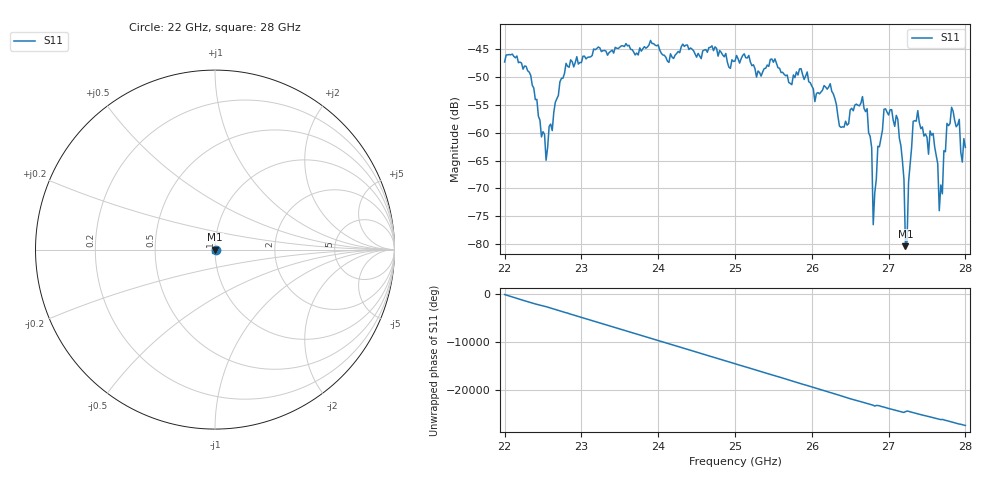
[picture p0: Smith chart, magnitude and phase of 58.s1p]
#  HZ  S  RI  R  50.00
! Rohde & Schwarz ZVA40 4Ports - Version 3.90 - 1145.1110k42 SN: 100403
! Date: 2023-10-04 10:49:31
! Measurement: S12
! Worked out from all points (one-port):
!   301 points, 22 GHz to 28 GHz, reference 50 ohm
!   lowest |S11| = -80.4 dB at 27.22 GHz (marker M1), VSWR 1.00, Z = 50 - j0.00938 ohm
!   |S11| at or under -10 dB: start of sweep to end of sweep
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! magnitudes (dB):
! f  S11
! 22 GHz  -47.3
! 22.34 GHz  -49.7
! 22.54 GHz  -64.9
! 22.76 GHz  -50.2
! 23.5 GHz  -44.6
! 24.26 GHz  -45.4
! 25 GHz  -47.1
! 25.76 GHz  -49.6
! 26.5 GHz  -55.9
! 26.72 GHz  -55.7
! 26.78 GHz  -62.7
! 26.8 GHz  -76.5
! 26.86 GHz  -62.4
! 26.94 GHz  -55.8
! 27.1 GHz  -56.9
! 27.2 GHz  -68.4
! 27.22 GHz  -80.4
! 27.24 GHz  -79.6
! 27.26 GHz  -68.8
! 27.32 GHz  -58.0
! 27.38 GHz  -56.0
! 27.52 GHz  -63.9
! 27.58 GHz  -60.1
! 27.64 GHz  -65.6
! 27.66 GHz  -74.0
! 27.82 GHz  -55.4
! 27.96 GHz  -65.3
! 28 GHz  -62.6
